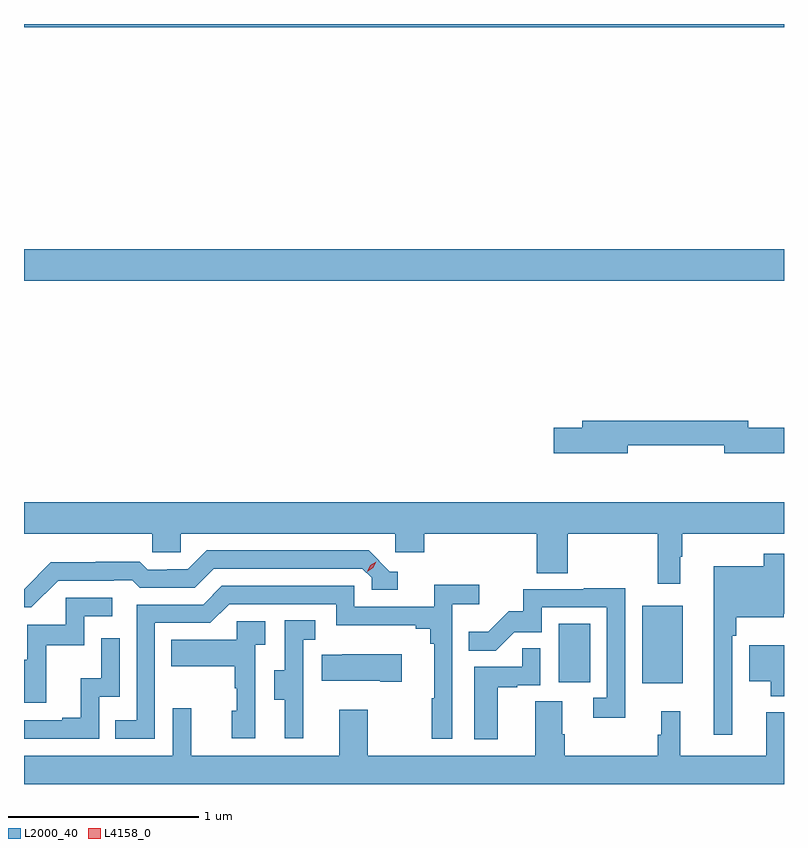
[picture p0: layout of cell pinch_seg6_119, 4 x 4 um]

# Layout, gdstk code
import gdstk
lib = gdstk.Library(unit=1e-6, precision=1e-09)
def R(c, l, rs):  # rectangles x0, y0, x1, y1
    for r in rs: c.add(gdstk.rectangle(r[:2], r[2:], *l))
def P(c, l, *ps):  # polygons
    for p in ps: c.add(gdstk.Polygon(p, *l))
L2000_40 = (2000, 40)
L4158_0 = (4158, 0)

pinch_seg6_119 = lib.new_cell('pinch_seg6_119')
R(pinch_seg6_119, L2000_40, [(986.534,931.895,986.749,932.305), (986.096,931.902,986.26,932.209), (983.281,934.016,987.281,934.18), (983.281,935.348,987.281,935.366)])
P(pinch_seg6_119, L2000_40, [(986.458,933.15),(986.966,933.15),(986.966,933.107),(987.281,933.107),(987.281,933.242),(987.094,933.242),(987.094,933.278),(986.219,933.278),(986.219,933.242),(986.07,933.242),(986.07,933.107),(986.458,933.107)],
  [(986.734,932.561),(986.746,932.561),(986.746,932.684),(987.281,932.684),(987.281,932.848),(983.281,932.848),(983.281,932.684),(983.955,932.684),(983.955,932.586),(984.105,932.586),(984.105,932.684),(985.236,932.684),(985.236,932.586),(985.388,932.586),(985.388,932.684),(985.979,932.684),(985.979,932.476),(986.144,932.476),(986.144,932.684),(986.617,932.684),(986.617,932.421),(986.734,932.421)],
  [(983.46,932.436),(983.753,932.436),(983.753,932.439),(983.852,932.439),(983.891,932.4),(984.18,932.4),(984.279,932.499),(985.062,932.499),(985.11,932.451),(985.11,932.388),(985.249,932.388),(985.249,932.484),(985.206,932.484),(985.095,932.595),(984.242,932.595),(984.143,932.496),(984.036,932.496),(984.036,932.493),(983.933,932.493),(983.891,932.536),(983.658,932.536),(983.658,932.533),(983.422,932.533),(983.281,932.392),(983.281,932.295),(983.319,932.295)],
  [(987.009,932.147),(987.029,932.147),(987.029,932.243),(987.279,932.243),(987.279,932.261),(987.281,932.261),(987.281,932.578),(987.174,932.578),(987.174,932.512),(986.912,932.512),(986.912,931.626),(987.009,931.626)],
  [(983.97,932.214),(984.261,932.214),(984.36,932.313),(984.924,932.313),(984.924,932.201),(985.343,932.201),(985.343,932.182),(985.42,932.182),(985.42,932.105),(985.439,932.105),(985.439,931.817),(985.428,931.817),(985.428,931.605),(985.536,931.605),(985.536,932.312),(985.678,932.312),(985.678,932.414),(985.439,932.414),(985.439,932.298),(985.02,932.298),(985.02,932.409),(984.323,932.409),(984.224,932.31),(983.874,932.31),(983.874,931.701),(983.761,931.701),(983.761,931.605),(983.97,931.605)],
  [(986.445,932.396),(986.227,932.396),(986.227,932.391),(985.909,932.391),(985.909,932.274),(985.832,932.274),(985.725,932.167),(985.621,932.167),(985.621,932.068),(985.764,932.068),(985.862,932.166),(986.007,932.166),(986.007,932.295),(986.349,932.295),(986.349,931.821),(986.277,931.821),(986.277,931.716),(986.445,931.716)],
  [(983.399,932.097),(983.598,932.097),(983.598,932.25),(983.746,932.25),(983.746,932.346),(983.502,932.346),(983.502,932.205),(983.297,932.205),(983.297,932.019),(983.281,932.019),(983.281,931.794),(983.399,931.794)],
  [(984.752,931.821),(984.75,931.821),(984.75,932.125),(984.814,932.125),(984.814,932.228),(984.654,932.228),(984.654,931.965),(984.599,931.965),(984.599,931.81),(984.653,931.81),(984.653,931.608),(984.752,931.608)],
  [(984.498,932.099),(984.55,932.099),(984.55,932.223),(984.402,932.223),(984.402,932.125),(984.055,932.125),(984.055,931.985),(984.39,931.985),(984.39,931.871),(984.4,931.871),(984.4,931.752),(984.374,931.752),(984.374,931.608),(984.498,931.608)],
  [(983.676,931.824),(983.784,931.824),(983.784,932.134),(983.688,932.134),(983.688,931.922),(983.579,931.922),(983.579,931.714),(983.483,931.714),(983.483,931.701),(983.281,931.701),(983.281,931.605),(983.676,931.605)],
  [(987.281,932.095),(987.098,932.095),(987.098,931.907),(987.212,931.907),(987.212,931.829),(987.281,931.829)],
  [(985.774,931.875),(985.877,931.875),(985.877,931.887),(985.998,931.887),(985.998,932.081),(985.903,932.081),(985.903,931.983),(985.652,931.983),(985.652,931.601),(985.774,931.601)],
  [(985.27,932.05),(984.955,932.05),(984.955,932.047),(984.847,932.047),(984.847,931.91),(985.157,931.91),(985.157,931.903),(985.27,931.903)],
  [(987.281,931.744),(987.188,931.744),(987.188,931.516),(986.735,931.516),(986.735,931.75),(986.636,931.75),(986.636,931.625),(986.617,931.625),(986.617,931.516),(986.126,931.516),(986.126,931.628),(986.113,931.628),(986.113,931.802),(985.973,931.802),(985.973,931.516),(985.089,931.516),(985.089,931.756),(984.941,931.756),(984.941,931.516),(984.161,931.516),(984.161,931.765),(984.063,931.765),(984.063,931.516),(983.281,931.516),(983.281,931.366),(987.281,931.366)])
P(pinch_seg6_119, L4158_0, [(985.087,932.484),(985.087,932.484),(985.103,932.517),(985.134,932.536),(985.135,932.536),(985.135,932.536),(985.118,932.503),(985.088,932.484)])

lib.write_gds('pinch_seg6_119.gds')
